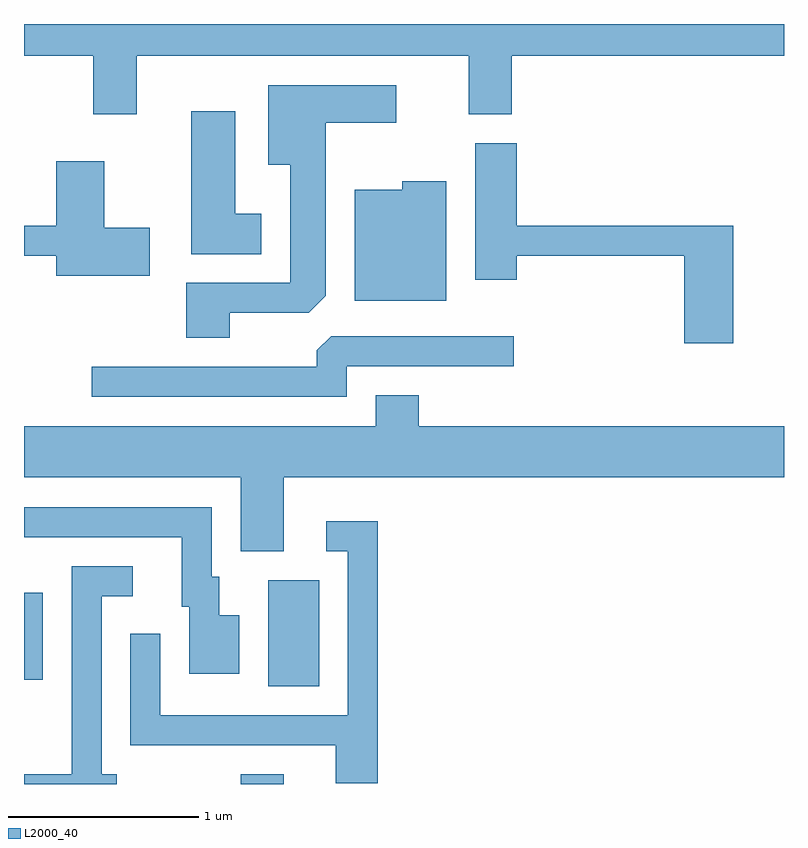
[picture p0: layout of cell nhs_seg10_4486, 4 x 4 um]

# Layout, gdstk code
import gdstk
lib = gdstk.Library(unit=1e-6, precision=1e-09)
def R(c, l, rs):  # rectangles x0, y0, x1, y1
    for r in rs: c.add(gdstk.rectangle(r[:2], r[2:], *l))
def P(c, l, *ps):  # polygons
    for p in ps: c.add(gdstk.Polygon(p, *l))
L2000_40 = (2000, 40)

nhs_seg10_4486 = lib.new_cell('nhs_seg10_4486')
R(nhs_seg10_4486, L2000_40, [(318.751,2114.522,318.979,2114.574), (318.896,2115.036,319.164,2115.594), (317.611,2115.071,317.709,2115.529)])
P(nhs_seg10_4486, L2000_40, [(318.204,2118.356),(319.951,2118.356),(319.951,2118.046),(320.179,2118.046),(320.179,2118.356),(321.611,2118.356),(321.611,2118.522),(317.611,2118.522),(317.611,2118.356),(317.976,2118.356),(317.976,2118.046),(318.204,2118.046)],
  [(318.694,2117.001),(319.109,2117.001),(319.199,2117.092),(319.199,2118.001),(319.569,2118.001),(319.569,2118.199),(318.896,2118.199),(318.896,2117.781),(319.011,2117.781),(319.011,2117.159),(318.466,2117.159),(318.466,2116.871),(318.694,2116.871)],
  [(318.859,2117.524),(318.724,2117.524),(318.724,2118.064),(318.491,2118.064),(318.491,2117.311),(318.859,2117.311)],
  [(321.344,2117.459),(320.204,2117.459),(320.204,2117.894),(319.986,2117.894),(319.986,2117.176),(320.204,2117.176),(320.204,2117.301),(321.086,2117.301),(321.086,2116.841),(321.344,2116.841)],
  [(318.274,2117.449),(318.034,2117.449),(318.034,2117.799),(317.781,2117.799),(317.781,2117.459),(317.611,2117.459),(317.611,2117.301),(317.781,2117.301),(317.781,2117.196),(318.274,2117.196)],
  [(319.834,2117.694),(319.601,2117.694),(319.601,2117.649),(319.351,2117.649),(319.351,2117.066),(319.834,2117.066)],
  [(319.309,2116.721),(320.188,2116.721),(320.188,2116.879),(319.227,2116.879),(319.151,2116.804),(319.151,2116.719),(317.968,2116.719),(317.968,2116.561),(319.309,2116.561)],
  [(318.979,2116.136),(321.611,2116.136),(321.611,2116.404),(319.689,2116.404),(319.689,2116.569),(319.461,2116.569),(319.461,2116.404),(317.611,2116.404),(317.611,2116.136),(318.751,2116.136),(318.751,2115.746),(318.979,2115.746)],
  [(318.744,2115.409),(318.639,2115.409),(318.639,2115.614),(318.599,2115.614),(318.599,2115.979),(317.611,2115.979),(317.611,2115.821),(318.441,2115.821),(318.441,2115.456),(318.481,2115.456),(318.481,2115.101),(318.744,2115.101)],
  [(319.474,2115.904),(319.203,2115.904),(319.203,2115.746),(319.316,2115.746),(319.316,2114.884),(318.329,2114.884),(318.329,2115.313),(318.171,2115.313),(318.171,2114.726),(319.251,2114.726),(319.251,2114.526),(319.474,2114.526)],
  [(318.098,2114.574),(318.019,2114.574),(318.019,2115.511),(318.183,2115.511),(318.183,2115.669),(317.861,2115.669),(317.861,2114.574),(317.611,2114.574),(317.611,2114.522),(318.098,2114.522)])

lib.write_gds('nhs_seg10_4486.gds')
